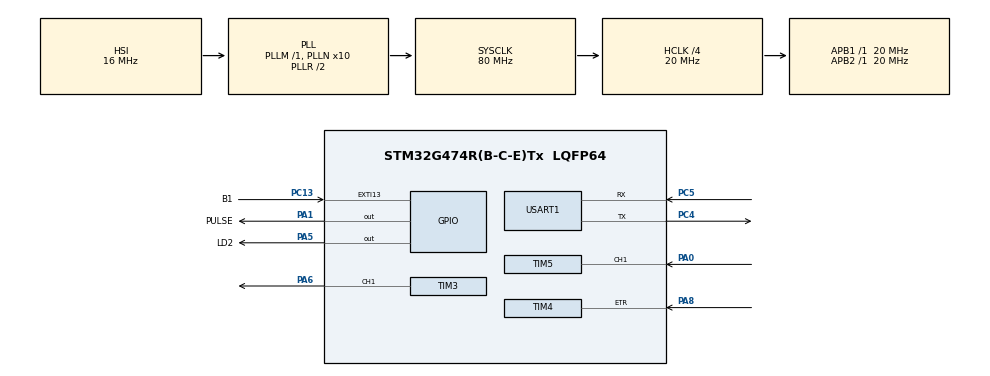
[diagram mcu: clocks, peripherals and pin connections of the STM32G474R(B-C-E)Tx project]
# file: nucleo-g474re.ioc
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Dma.Request0=USART1_RX
Dma.USART1_RX.0.Direction=DMA_PERIPH_TO_MEMORY
Dma.USART1_RX.0.EventEnable=DISABLE
Dma.USART1_RX.0.Instance=DMA1_Channel1
Dma.USART1_RX.0.MemDataAlignment=DMA_MDATAALIGN_BYTE
Dma.USART1_RX.0.MemInc=DMA_MINC_ENABLE
Dma.USART1_RX.0.Mode=DMA_NORMAL
Dma.USART1_RX.0.PeriphDataAlignment=DMA_PDATAALIGN_BYTE
Dma.USART1_RX.0.PeriphInc=DMA_PINC_DISABLE
Dma.USART1_RX.0.Polarity=HAL_DMAMUX_REQ_GEN_RISING
Dma.USART1_RX.0.Priority=DMA_PRIORITY_LOW
Dma.USART1_RX.0.RequestNumber=1
Dma.USART1_RX.0.SignalID=NONE
Dma.USART1_RX.0.SyncEnable=DISABLE
Dma.USART1_RX.0.SyncPolarity=HAL_DMAMUX_SYNC_NO_EVENT
Dma.USART1_RX.0.SyncRequestNumber=1
Dma.USART1_RX.0.SyncSignalID=NONE
Mcu.Family=STM32G4
Mcu.Name=STM32G474R(B-C-E)Tx
Mcu.Package=LQFP64
NVIC.DMA1_Channel1_IRQn=true\:0\:0\:false\:false\:true\:false\:true\:true
NVIC.EXTI15_10_IRQn=true\:15\:0\:true\:false\:true\:true\:true\:true
NVIC.PriorityGroup=NVIC_PRIORITYGROUP_4
NVIC.TIM5_IRQn=true\:0\:0\:false\:false\:true\:true\:true\:true
NVIC.TIM6_DAC_IRQn=true\:0\:0\:true\:false\:true\:true\:true\:true
NVIC.USART1_IRQn=true\:0\:0\:false\:false\:true\:true\:true\:true
PA0.Signal=S_TIM5_CH1
PA1.GPIO_Label=PULSE
PA1.Signal=GPIO_Output
PA13.GPIO_Label=T_SWDIO
PA13.Mode=Serial_Wire
PA13.Signal=SYS_JTMS-SWDIO
PA14.GPIO_Label=T_SWCLK
PA14.Mode=Serial_Wire
PA14.Signal=SYS_JTCK-SWCLK
PA5.GPIO_Label=LD2
PA5.Signal=GPIO_Output
PA6.Signal=S_TIM3_CH1
PA8.Signal=S_TIM4_ETR
PC13.GPIO_Label=B1
PC13.GPIO_ModeDefaultEXTI=GPIO_MODE_IT_RISING
PC13.GPIO_PuPd=GPIO_NOPULL
PC13.Signal=GPXTI13
PC4.Mode=Asynchronous
PC4.Signal=USART1_TX
PC5.Mode=Asynchronous
PC5.Signal=USART1_RX
ProjectManager.HeapSize=0x200
ProjectManager.StackSize=0x400
ProjectManager.TargetToolchain=MDK-ARM V5.27
RCC.ADC12Freq_Value=80000000
RCC.ADC345Freq_Value=80000000
RCC.AHBCLKDivider=RCC_SYSCLK_DIV4
RCC.AHBFreq_Value=20000000
RCC.APB1Freq_Value=20000000
RCC.APB1TimFreq_Value=20000000
RCC.APB2Freq_Value=20000000
RCC.APB2TimFreq_Value=20000000
RCC.CortexFreq_Value=20000000
RCC.EXTERNAL_CLOCK_VALUE=12288000
RCC.HCLKFreq_Value=20000000
RCC.HSE_VALUE=8000000
RCC.HSI48_VALUE=48000000
RCC.HSI_VALUE=16000000
RCC.LSE_VALUE=32768
RCC.PLLN=10
RCC.RCC_TIM_PRescaler_Selection=RCC_TIMPRES_DESACTIVATED
RCC.RTCClockSelection=RCC_RTCCLKSOURCE_LSE
RCC.SYSCLKFreq_VALUE=80000000
RCC.SYSCLKSource=RCC_SYSCLKSOURCE_PLLCLK
RCC.USBFreq_Value=80000000
RCC.VCOOutputFreq_Value=160000000
SH.S_TIM3_CH1.0=TIM3_CH1,PWM Generation1 CH1
SH.S_TIM4_ETR.0=TIM4_ETR,ClockSourceETR_Mode2
SH.S_TIM5_CH1.0=TIM5_CH1,Input_Capture1_from_TI1
TIM2.PeriodNoDither=199
TIM2.Prescaler=1999
TIM3.Channel-PWM\ Generation1\ CH1=TIM_CHANNEL_1
TIM3.PeriodNoDither=19
TIM3.Prescaler=99
TIM3.PulseNoDither_1=10
TIM5.Channel-Input_Capture1_from_TI1=TIM_CHANNEL_1
TIM5.PeriodNoDither=0xffffffff
TIM6.PeriodNoDither=9999
TIM6.Prescaler=1999
USART1.VirtualMode-Asynchronous=VM_ASYNC
VP_SYS_VS_DBSignals.Mode=DisableDeadBatterySignals
VP_TIM2_VS_ClockSourceINT.Mode=Internal
VP_TIM3_VS_ClockSourceINT.Mode=Internal
VP_TIM5_VS_ClockSourceINT.Mode=Internal
VP_TIM6_VS_ClockSourceINT.Mode=Enable_Timer
board=NUCLEO-G474RE

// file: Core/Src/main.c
/* USER CODE BEGIN Header */
/**
  ******************************************************************************
  * @file           : main.c
  * @brief          : Main program body
  ******************************************************************************
  * @attention
  *
  * Copyright (c) 2022 STMicroelectronics.
  * All rights reserved.
  *
  * This software is licensed under terms that can be found in the LICENSE file
  * in the root directory of this software component.
  * If no LICENSE file comes with this software, it is provided AS-IS.
  *
  ******************************************************************************
  */
/* USER CODE END Header */
#include "main.h"
#include "dma.h"
#include "tim.h"
#include "usart.h"
#include "gpio.h"

/* USER CODE BEGIN Includes */
#include <string.h>
#include "stm32g474xx.h"
/* USER CODE END Includes */

/* USER CODE BEGIN PD */
#ifdef GPIO_REGISTER

  #define GPIOA_MODER   (*(unsigned int *)(0x48000000UL))  // Mode Register
  #define GPIOA_ODR     (*(unsigned int *)(0x48000014UL)) // Output Data Register
  #define GPIOA_BSRR    (*(unsigned int *)(0x48000018UL))  // Bit Set Register

#endif

#ifdef E_CLOCK
typedef struct {
  uint8_t hour;
  uint8_t minute;
  uint8_t second;
} CLOCK_TypeDef;
#endif

/* USER CODE END PD */

/* USER CODE BEGIN PV */
#ifdef UART
extern UART_HandleTypeDef huart1;
uint8_t rec_buffer[BUFFER_SIZE];
#endif

#ifdef UART_RETARGET
extern UART_HandleTypeDef huart1;
uint8_t rec_data;   // uart retarget
#endif

#ifdef UART_IRQ
extern UART_HandleTypeDef huart1;
#define LENGTH 10
uint8_t rx_buffer[LENGTH];    // RX buffer
uint8_t rx_flag = 0;    // RX Complete flag: 0 means RX Not Complete; 1 means RX Complete
#endif

#if (defined UART_DMA1) || (defined UART_DMA2)
uint8_t rx_buffer[BUFFER_SIZE];    // receive buffer
__IO uint8_t rx_cot = 0;    // receive data counter
uint8_t rx_flag = 0; // RX Complete flag: 0 means RX Not Complete; 1 means RX Complete flag
#endif

#ifdef GPIO_IRQ
volatile uint8_t led_speed = 0;
#endif

#ifdef PULSE_COT
uint8_t Result = 0;
#endif

#ifdef E_CLOCK
CLOCK_TypeDef clock = {0};
#endif

#ifdef B_LIGHTING
int16_t duty = 0;
#endif

#ifdef CAPTURE_SIGNAL
uint32_t diff = 0;          // store the Diff value, F_sig = (TIM_CLK) / (diff * (Prescaler + 1))
uint8_t measure_flag = 0;   // flag of measurement: 0-not complete; 1-complete
uint8_t cap_idx = 0;        // index of capture: 0-not start; 1-capture once
uint32_t cap_val1 = 0;      // first value of capture
uint32_t cap_val2 = 0;      // second value of capture
#endif

#ifdef FRAME_COMMUNICATION
extern UART_HandleTypeDef huart1;
uint8_t rx_buffer[4];   // rx buffer
uint8_t rx_flag = 0;    // Receive Complete flag: 0-not complete; 1-complete
uint8_t err_flag = 0;   // Instruction flag: 0-correct; 1-error
#endif
/* USER CODE END PV */

void SystemClock_Config(void);

int main(void)
{

  /* MCU Configuration--------------------------------------------------------*/

  /* Reset of all peripherals, Initializes the Flash interface and the Systick. */
  HAL_Init();

  /* Configure the system clock */
  SystemClock_Config();

  /* Initialize all configured peripherals */
  MX_GPIO_Init();
  MX_DMA_Init();
  MX_TIM6_Init();
  MX_TIM4_Init();
  MX_TIM2_Init();
  MX_TIM3_Init();
  MX_TIM5_Init();
  MX_USART1_UART_Init();
  /* USER CODE BEGIN 2 */
#ifdef TIMER
  // TIMER Programming
  // clear the UPDATE interrupt flag during the initialization progress of timer,
  // avoiding entering the interrupt as soon as the timer starts
  __HAL_TIM_CLEAR_IT(&htim6, TIM_IT_UPDATE);
  // enable timer UPDATE interrupt (it will be triggered when the counter overflows or
  // underflows), and start the timer
  HAL_TIM_Base_Start_IT(&htim6);
#endif

#ifdef UART_RETARGET
  printf("UART Retraget:\r\n");
#endif

#ifdef UART_IRQ
  printf("******  UART communication using IT ******\r\n");
  printf("Please enter 10 characters:\r\n");
  HAL_UART_Receive_IT(&huart1, (uint8_t *) rx_buffer, LENGTH);
#endif

#if (defined UART_DMA1) || (defined UART_DMA2)
  printf("****** UART communication using IDLE IT + DMA ******\r\n");
  printf("Please enter arbitrary length characters:\r\n");
#endif

#ifdef GPIO_REGISTER
  // GPIO Register Programming
  RCC->AHB2ENR |= (uint32_t) 0x00000004;    // open the port GPIOA's clock
  GPIOA->MODER = (uint32_t) 0xFFFFF3FF;     // set bit9:bit10 = 01, PA5 mode is Output Push Pull
  GPIOA->ODR |= 1 << 5;                     // set bit5 being 1, PA5 output hight level, open LD2
  GPIOA->ODR &= ~(1 << 5);                  // set bit5 being 0, PA5 output low level, close LD2
  GPIOA->BRR |= (uint32_t) 1 << 5;          // set bit5 being 1, PA5 output low level, open LD2
  GPIOA->BSRR |= (uint32_t) 1 << 5;         // set bit5 being 0, PA5 output high level, close LD2
#endif

#ifdef GPIO_IRQ
  // GPIO IRQ Programming
  HAL_GPIO_WritePin(LD2_GPIO_Port, LD2_Pin, GPIO_PIN_SET);
#endif

#ifdef PULSE_COT
  HAL_TIM_Base_Start(&htim4);
  printf("Timer Counter Function Test:\n");
#endif

#ifdef E_CLOCK
  __HAL_TIM_CLEAR_IT(&htim6, TIM_IT_UPDATE);
  HAL_TIM_Base_Start_IT(&htim6);
#endif

#ifdef B_LIGHTING
  HAL_TIM_PWM_Start(&htim2, TIM_CHANNEL_1);
  uint16_t max = (uint16_t) htim2.Init.Period + 1;    // 200
  uint16_t step = max / 5;    // 40
#endif

#ifdef PWM
  HAL_TIM_PWM_Start(&htim2, TIM_CHANNEL_1);
#endif

#ifdef CAPTURE_SIGNAL
  printf("Timer Capture Function Test:\n");
  HAL_TIM_IC_Start_IT(&htim5, TIM_CHANNEL_1);   // start TIM5 CH1 to capture input signal
  HAL_TIM_PWM_Start(&htim3, TIM_CHANNEL_1);     // start TIM3 CH1 to output PWM signal, 10^5 Hz square waveform
#endif

#ifdef FRAME_COMMUNICATION
  printf("****** Communication Frame ******\r\n");
  printf("Please enter instruction:\r\n");
  printf("Head->0xaa Device->0x01 Operation->0x00/0x01 Tail->0x55.\r\n");
  HAL_UART_Receive_IT(&huart1, rx_buffer, 4);
#endif
  /* USER CODE END 2 */

  /* Infinite loop */
  /* USER CODE BEGIN WHILE */
  while (1)
  {
    // printf("Lighting\r\n");
    /* USER CODE END WHILE */

    /* USER CODE BEGIN 3 */
#ifdef UART
    if (HAL_UART_Receive(&huart1, rec_buffer, 5, 100) == HAL_OK) {
      HAL_UART_Transmit(&huart1, rec_buffer, 5, 100);
    }
#endif

#ifdef UART_IRQ
    if (rx_flag == 1) {
      rx_flag = 0;    // clear RX flag
      printf("Receive Success!\r\n");
      // transfer the data
      HAL_UART_Transmit_IT(&huart1, rx_buffer, LENGTH);
    }
#endif

#ifdef UART_RETARGET
    // use scanf function to receive UART data, need a space to be the end of input, 'y '
    if (scanf("%c", &rec_data) == 1) {
      if (rec_data == 'y') {
        printf("Receive y!\r\n");
      } else {
        printf("Receive others!\r\n");
      }
    }
#endif

#if (defined UART_DMA1) || (defined UART_DMA2)
    if (rx_flag == 1) {
      rx_flag = 0; // clear RX flag
      // Test function: print the received data
      HAL_UART_Transmit(&huart1, rx_buffer, rx_cot, HAL_MAX_DELAY);
      // clear buffer
      // memset(rx_buffer, 0, BUFFER_SIZE);
      rx_cot = 0;
  #ifdef UART_DMA1
      // restart the DMA transfer, and 255 words each time
      HAL_UART_Receive_DMA(&huart1, rx_buffer, BUFFER_SIZE);
  #endif
    }
#endif

#ifdef GPIO_IRQ
    if (led_speed == 0) {
      HAL_GPIO_TogglePin(LD2_GPIO_Port, LD2_Pin);
      HAL_Delay(1000);
    } else if (led_speed == 1) {
      HAL_GPIO_TogglePin(LD2_GPIO_Port, LD2_Pin);
      HAL_Delay(2000);
    } else if (led_speed == 2) {
      HAL_GPIO_TogglePin(LD2_GPIO_Port, LD2_Pin);
      HAL_Delay(5000);
    }
#endif

#ifdef E_CLOCK
    printf("Time: %02d:%02d:%02d.\r\n", clock.hour, clock.minute, clock.second);
    HAL_Delay(1000);
#endif

#ifdef B_LIGHTING
    for (duty = 0; duty <= max; duty += step) {
      __HAL_TIM_SET_COMPARE(&htim2, TIM_CHANNEL_1, duty);
      HAL_Delay(100);
    }
    for (duty = max; duty >= 0; duty -= step) {
      __HAL_TIM_SET_COMPARE(&htim2, TIM_CHANNEL_1, duty);
      HAL_Delay(100);
    }
#endif

#ifdef CAPTURE_SIGNAL
    if (measure_flag == 1) {                      // judge whether the measurement complete
      if (cap_val2 >= cap_val1) {                 // the two captures are in the same period
        diff = cap_val2 - cap_val1;
      } else {                                    // the two captures are not in the same period
        diff = ((0xFFFFFFFF + 1 - cap_val1) + cap_val2);
      }
    }
    // printf("Period is: %.4f ms\r\n", diff / 20000);    // calculate the period
    // printf("Frequency is: %d Hz\r\n", 20000000 / diff);   // calculate the frequency
    // printf("cap_val1: %d, cal_val2: %d\r\n", cap_val1, cap_val2);
    // printf("/********************************/\r\n");

    measure_flag = 0;                             // clear the flag
    HAL_Delay(1000);
    HAL_TIM_IC_Start_IT(&htim5, TIM_CHANNEL_1);   // start TIM5 CH1 to capture input signal
#endif

#ifdef FRAME_COMMUNICATION
    if (rx_flag == 1) {   // whether data receive complete
      rx_flag = 0;    // clear rx_flag
      // frame format analysis
      if (rx_buffer[0] == 0xaa && rx_buffer[3] == 0x55) {   // frame head and frame tail
        if (rx_buffer[1] == 0x01) {   // device code
          if (rx_buffer[2] == 0x00) {   // operation code
            HAL_GPIO_WritePin(LD2_GPIO_Port, LD2_Pin, GPIO_PIN_RESET);
            printf("LD2 is close!\r\n");
          } else if (rx_buffer[2] == 0x01) {
            HAL_GPIO_WritePin(LD2_GPIO_Port, LD2_Pin, GPIO_PIN_SET);
            printf("LD2 is open!\r\n");
          } else {
            printf("Operation Error: 0x%02x.\r\n", rx_buffer[2]);
            err_flag = 1;
          }
        } else {
          printf("Device Error: 0x%02x.\r\n", rx_buffer[1]);
          err_flag = 1;
        }
      } else {
        printf("Frame Error: 0x%02x 0x%02x.\r\n", rx_buffer[0], rx_buffer[3]);
        err_flag = 1;
      }
    }

    if (err_flag == 1) {
      printf("Communication Error! Please send again!\r\n");
    }
    // clear buffer and error flag
    err_flag = 0;
    memset(rx_buffer, 0, 4);
#endif
  }
  /* USER CODE END 3 */
}

void SystemClock_Config(void)
{
  RCC_OscInitTypeDef RCC_OscInitStruct = {0};
  RCC_ClkInitTypeDef RCC_ClkInitStruct = {0};

  /** Configure the main internal regulator output voltage
  */
  HAL_PWREx_ControlVoltageScaling(PWR_REGULATOR_VOLTAGE_SCALE1);

  /** Initializes the RCC Oscillators according to the specified parameters
  * in the RCC_OscInitTypeDef structure.
  */
  RCC_OscInitStruct.OscillatorType = RCC_OSCILLATORTYPE_HSI;
  RCC_OscInitStruct.HSIState = RCC_HSI_ON;
  RCC_OscInitStruct.HSICalibrationValue = RCC_HSICALIBRATION_DEFAULT;
  RCC_OscInitStruct.PLL.PLLState = RCC_PLL_ON;
  RCC_OscInitStruct.PLL.PLLSource = RCC_PLLSOURCE_HSI;
  RCC_OscInitStruct.PLL.PLLM = RCC_PLLM_DIV1;
  RCC_OscInitStruct.PLL.PLLN = 10;
  RCC_OscInitStruct.PLL.PLLP = RCC_PLLP_DIV2;
  RCC_OscInitStruct.PLL.PLLQ = RCC_PLLQ_DIV2;
  RCC_OscInitStruct.PLL.PLLR = RCC_PLLR_DIV2;
  if (HAL_RCC_OscConfig(&RCC_OscInitStruct) != HAL_OK)
  {
    Error_Handler();
  }

  /** Initializes the CPU, AHB and APB buses clocks
  */
  RCC_ClkInitStruct.ClockType = RCC_CLOCKTYPE_HCLK|RCC_CLOCKTYPE_SYSCLK
                              |RCC_CLOCKTYPE_PCLK1|RCC_CLOCKTYPE_PCLK2;
  RCC_ClkInitStruct.SYSCLKSource = RCC_SYSCLKSOURCE_PLLCLK;
  RCC_ClkInitStruct.AHBCLKDivider = RCC_SYSCLK_DIV4;
  RCC_ClkInitStruct.APB1CLKDivider = RCC_HCLK_DIV1;
  RCC_ClkInitStruct.APB2CLKDivider = RCC_HCLK_DIV1;

  if (HAL_RCC_ClockConfig(&RCC_ClkInitStruct, FLASH_LATENCY_0) != HAL_OK)
  {
    Error_Handler();
  }
}

/* USER CODE BEGIN 4 */
void HAL_GPIO_EXTI_Callback(uint16_t GPIO_Pin) {
  switch (GPIO_Pin) {
#ifdef GPIO_IRQ
    case B1_Pin:
      // if (HAL_GPIO_ReadPin(B1_GPIO_Port, B1_Pin) == 1)
      //   HAL_GPIO_WritePin(LD2_GPIO_Port, LD2_Pin, GPIO_PIN_SET);
      // else
      //   HAL_GPIO_WritePin(LD2_GPIO_Port, LD2_Pin, GPIO_PIN_RESET);
      // break;
      // HAL_GPIO_TogglePin(LD2_GPIO_Port, LD2_Pin);
      led_speed++;
      if (led_speed == 3) led_speed = 0;
#endif

#ifdef PULSE_COT
    case B1_Pin:
      HAL_GPIO_WritePin(PULSE_GPIO_Port, PULSE_Pin, GPIO_PIN_SET);
      HAL_Delay(1);
      HAL_GPIO_WritePin(PULSE_GPIO_Port, PULSE_Pin, GPIO_PIN_RESET);
      HAL_Delay(1);
      Result = __HAL_TIM_GET_COUNTER(&htim4);
      printf("Count = %d.\r\n", Result);
#endif
    default:
      break;
  }
}

void HAL_TIM_PeriodElapsedCallback(TIM_HandleTypeDef *htim) {
#ifdef TIMER
  if (htim->Instance == TIM6) {
    HAL_GPIO_TogglePin(LD2_GPIO_Port, LD2_Pin);
  }
#endif

#ifdef E_CLOCK
  if (htim->Instance == TIM6) {
    clock.second++;
    if (clock.second == 60) {
      clock.second = 0;
      clock.minute++;
      if (clock.minute == 60) {
        clock.minute = 0;
        clock.hour++;
        if (clock.hour == 24) {
          clock.hour = 0;
        }
      }
    }
  }
#endif
}

void HAL_TIM_IC_CaptureSignalCallback(TIM_HandleTypeDef *htim) {
#ifdef CAPTURE_SIGNAL
  if (htim->Instance == TIM5) {   // judge the timer capture signal
    if (htim->Channel == HAL_TIM_ACTIVE_CHANNEL_1) {    // judge the channel
      if (cap_idx == 0) {   // store the first CCR
        cap_val1 = HAL_TIM_ReadCapturedValue(htim, TIM_CHANNEL_1);
        printf("capture 1.\r\n");
        cap_idx = 1;    // change the flag
      } else if (cap_idx == 1) {    // store the second CCR
        cap_val2 = HAL_TIM_ReadCapturedValue(htim, TIM_CHANNEL_1);
        printf("capture 2.\r\n");
        HAL_TIM_IC_Stop_IT(htim, TIM_CHANNEL_1);    // pause capture
        cap_idx = 0;
        measure_flag = 1;
      } else {
        Error_Handler();
      }
    }
  }
#endif
}

void HAL_UART_RxCpltCallback(UART_HandleTypeDef *huart) {
#ifdef UART_IRQ
  if (huart->Instance == USART1) {
    rx_flag = 1;    // set RX Complete flag
    HAL_UART_Receive_IT(&huart1, rx_buffer, LENGTH);    // enable RX IRQ
  }
#endif

#ifdef FRAME_COMMUNICATION
  if (huart->Instance == USART1) {
    rx_flag = 1;    // set RX Complete flag
    HAL_UART_Receive_IT(&huart1, rx_buffer, 4);    // enable RX IRQ
  }
#endif

#ifdef UART_DMA2
  if (huart->Instance == USART1) {
    printf("RxCplt IRQ.\r\n");
    __HAL_UART_DISABLE_IT(&huart1, UART_IT_RXNE);
    HAL_UART_Receive_DMA(&huart1, &rx_buffer[1], (BUFFER_SIZE - 1));
    __HAL_UART_ENABLE_IT(&huart1, UART_IT_IDLE);
  }
#endif
}
/* USER CODE END 4 */

void Error_Handler(void)
{
  __disable_irq();
  while (1)
  {
  }
}
